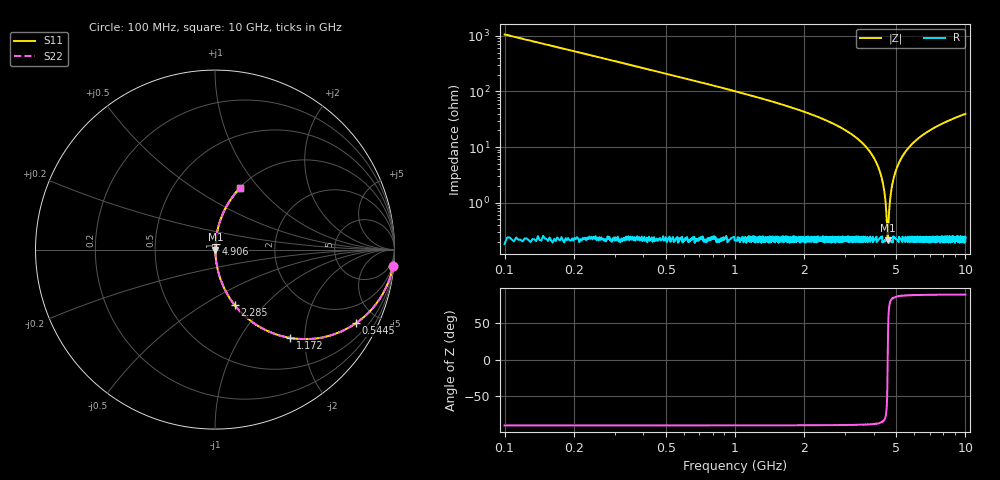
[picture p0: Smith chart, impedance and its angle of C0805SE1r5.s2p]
! AVX Thin Film Operation		Date: April 2012
! Description: Accu-P® Series, Thin Film, SMD, RF Capacitor
! Part Number: 08051J1R5PBTTR
!	100	MHz	-	10.05	GHz
!	Serial	Measurements
#	MHZ	S	MA	R	50
!	S11	S21	S12	S22
!	dB	Phase	dB	Phase	dB	Phase	dB	Phase
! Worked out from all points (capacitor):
!   4010 points, 100 MHz to 10 GHz, reference 50 ohm
!   read as one part in series: C = 1.5 pF near 149.4 MHz
!   lowest |Z| = 210 mohm at 4.599 GHz (marker M1)
!   series resonance near 4.6 GHz, so ESL is about 800 pH
!   S11 on the Smith chart (normalised r, x): 100 MHz: 1, -21; 544.5 MHz: 1.00, -3.84; 1.172 GHz: 1.01, -1.69; 2.285 GHz: 1.00, -0.70; 4.906 GHz: 1.00, +0.06; 10 GHz: 1.00, +0.79
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100  0.996 -5.4  0.094 84.6  0.094 84.6  0.996 -5.4
285.208  0.965 -15.1  0.26 74.9  0.26 74.9  0.965 -15.1
544.5  0.887 -27.5  0.461 62.5  0.461 62.5  0.887 -27.5
1171.739  0.645 -49.7  0.762 40.2  0.762 40.2  0.645 -49.7
1752.058  0.459 -62.4  0.887 27.3  0.887 27.3  0.459 -62.4
2285.458  0.329 -70.4  0.942 19.2  0.942 19.2  0.329 -70.4
3401.646  0.14 -81.1  0.988 8.0  0.988 8.0  0.14 -81.1
3932.577  0.072 -84.1  0.995 4.1  0.995 4.1  0.072 -84.1
4263.482  0.035 -84.4  0.997 2.0  0.997 2.0  0.035 -84.4
4448.69  0.016 -81.0  0.998 0.9  0.998 0.9  0.016 -81.0
4507.957  0.00952 -76.1  0.998 0.5  0.998 0.5  0.00952 -76.1
4569.693  0.00372 -53.7  0.998 0.2  0.998 0.2  0.00372 -53.7
4599.327  0.0022 -0.8  0.998 0.0  0.998 0.0  0.0022 -0.8
4628.96  0.00366 53.0  0.998 -0.2  0.998 -0.2  0.00366 53.0
4688.226  0.00905 75.5  0.998 -0.5  0.998 -0.5  0.00905 75.5
4740.085  0.014 80.2  0.998 -0.8  0.998 -0.8  0.014 80.2
4905.538  0.03 84.1  0.997 -1.7  0.997 -1.7  0.03 84.1
5051.235  0.043 84.6  0.997 -2.5  0.997 -2.5  0.043 84.6
5658.718  0.096 83.2  0.993 -5.5  0.993 -5.5  0.096 83.2
6700.823  0.175 79.2  0.982 -10.1  0.982 -10.1  0.175 79.2
8350.412  0.279 73.3  0.958 -16.2  0.958 -16.2  0.279 73.3
10000  0.367 68.2  0.928 -21.5  0.928 -21.5  0.367 68.2
